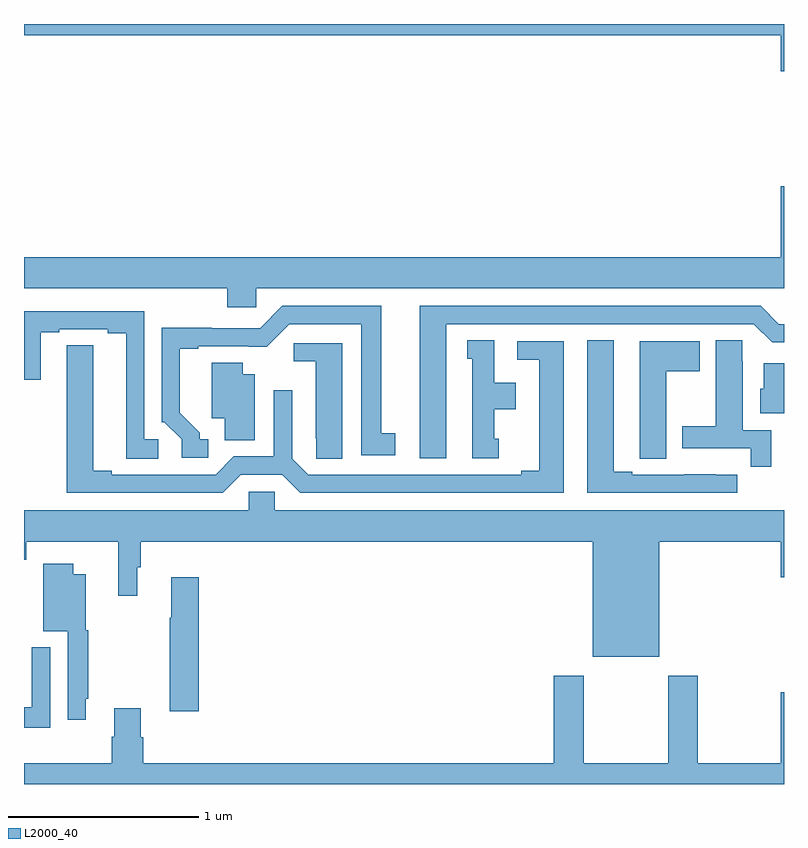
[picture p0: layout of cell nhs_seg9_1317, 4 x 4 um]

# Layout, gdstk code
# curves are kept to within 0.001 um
import gdstk
lib = gdstk.Library(unit=1e-6, precision=1e-09)
def P(c, l, *ps):  # polygons
    for p in ps: c.add(gdstk.Polygon(p, *l))
L2000_40 = (2000, 40)

nhs_seg9_1317 = lib.new_cell('nhs_seg9_1317')
P(nhs_seg9_1317, L2000_40, [(189,1176.5),(185,1176.5),(185,1176.44),(188.984,1176.44),(188.984,1176.252),(189,1176.252)],
  [(186.222,1175.108),(189,1175.108),(189,1175.647),(188.984,1175.647),(188.984,1175.272),(185,1175.272),(185,1175.108),(186.071,1175.108),(186.071,1175.01),(186.222,1175.01)],
  [(185.971,1174.314),(185.926,1174.314),(185.926,1174.349),(185.821,1174.454),(185.821,1174.791),(185.917,1174.791),(185.917,1174.803),(186.278,1174.802),(186.396,1174.92),(186.776,1174.92),(186.776,1174.23),(186.955,1174.23),(186.955,1174.346),(186.88,1174.346),(186.88,1175.016),(186.36,1175.016),(186.243,1174.899),(185.987,1174.899),(185.987,1174.901),(185.724,1174.901),(185.724,1174.404),(185.739,1174.404),(185.829,1174.314),(185.829,1174.218),(185.971,1174.218)],
  [(187.222,1174.92),(188.841,1174.92),(188.937,1174.824),(189,1174.824),(189,1174.92),(188.973,1174.92),(188.877,1175.016),(187.082,1175.016),(187.082,1174.215),(187.222,1174.215)],
  [(185.707,1174.314),(185.634,1174.314),(185.634,1174.989),(185,1174.989),(185,1174.627),(185.089,1174.627),(185.089,1174.878),(185.185,1174.878),(185.185,1174.893),(185.441,1174.893),(185.441,1174.873),(185.537,1174.873),(185.537,1174.213),(185.707,1174.213)],
  [(188.933,1174.362),(188.782,1174.362),(188.782,1174.724),(188.781,1174.724),(188.781,1174.835),(188.642,1174.835),(188.642,1174.383),(188.465,1174.383),(188.465,1174.266),(188.824,1174.266),(188.824,1174.17),(188.933,1174.17)],
  [(187.498,1174.317),(187.474,1174.317),(187.474,1174.472),(187.588,1174.472),(187.588,1174.612),(187.474,1174.612),(187.474,1174.835),(187.334,1174.835),(187.334,1174.737),(187.358,1174.737),(187.358,1174.215),(187.498,1174.215)],
  [(188.755,1174.128),(188.642,1174.128),(188.642,1174.129),(188.476,1174.129),(188.476,1174.128),(188.2,1174.128),(188.2,1174.143),(188.104,1174.143),(188.104,1174.835),(187.964,1174.835),(187.964,1174.032),(188.755,1174.032)],
  [(188.38,1174.672),(188.557,1174.672),(188.557,1174.831),(188.24,1174.831),(188.24,1174.321),(188.241,1174.321),(188.241,1174.213),(188.38,1174.213)],
  [(186.141,1174.128),(186.359,1174.128),(186.455,1174.032),(187.84,1174.032),(187.84,1174.83),(187.596,1174.83),(187.596,1174.734),(187.712,1174.734),(187.712,1174.148),(187.616,1174.148),(187.616,1174.128),(186.495,1174.128),(186.411,1174.212),(186.411,1174.573),(186.315,1174.573),(186.315,1174.224),(186.105,1174.224),(186.009,1174.128),(185.461,1174.128),(185.461,1174.148),(185.365,1174.148),(185.365,1174.808),(185.226,1174.808),(185.225,1174.032),(186.045,1174.032)],
  [(186.676,1174.821),(186.42,1174.821),(186.42,1174.724),(186.536,1174.724),(186.536,1174.321),(186.537,1174.321),(186.537,1174.213),(186.676,1174.213)],
  [(186.214,1174.657),(186.151,1174.657),(186.151,1174.718),(185.987,1174.718),(185.987,1174.424),(186.056,1174.424),(186.056,1174.309),(186.214,1174.309)],
  [(189,1174.714),(188.894,1174.714),(188.894,1174.581),(188.876,1174.581),(188.876,1174.451),(189,1174.451)],
  [(188.344,1173.776),(188.984,1173.776),(188.984,1173.588),(189,1173.588),(189,1173.94),(186.321,1173.94),(186.321,1174.038),(186.183,1174.038),(186.183,1173.94),(185,1173.94),(185,1173.68),(185.012,1173.68),(185.012,1173.776),(185.497,1173.776),(185.497,1173.492),(185.596,1173.492),(185.596,1173.642),(185.615,1173.642),(185.615,1173.776),(187.994,1173.776),(187.994,1173.17),(188.344,1173.17)],
  [(185.326,1172.95),(185.338,1172.95),(185.338,1173.309),(185.326,1173.309),(185.326,1173.604),(185.26,1173.604),(185.26,1173.658),(185.102,1173.658),(185.102,1173.305),(185.229,1173.305),(185.229,1172.838),(185.326,1172.838)],
  [(185.921,1173.589),(185.774,1173.589),(185.774,1173.376),(185.767,1173.376),(185.767,1172.883),(185.921,1172.883)],
  [(185.139,1173.22),(185.042,1173.22),(185.042,1172.905),(185,1172.905),(185,1172.796),(185.139,1172.796)],
  [(189,1172.983),(188.984,1172.983),(188.984,1172.608),(188.547,1172.608),(188.547,1173.07),(188.392,1173.07),(188.392,1172.608),(187.947,1172.608),(187.947,1173.07),(187.787,1173.07),(187.787,1172.608),(185.627,1172.608),(185.627,1172.745),(185.614,1172.745),(185.614,1172.899),(185.474,1172.899),(185.474,1172.75),(185.462,1172.75),(185.462,1172.608),(185,1172.608),(185,1172.5),(189,1172.5)])

lib.write_gds('nhs_seg9_1317.gds')
